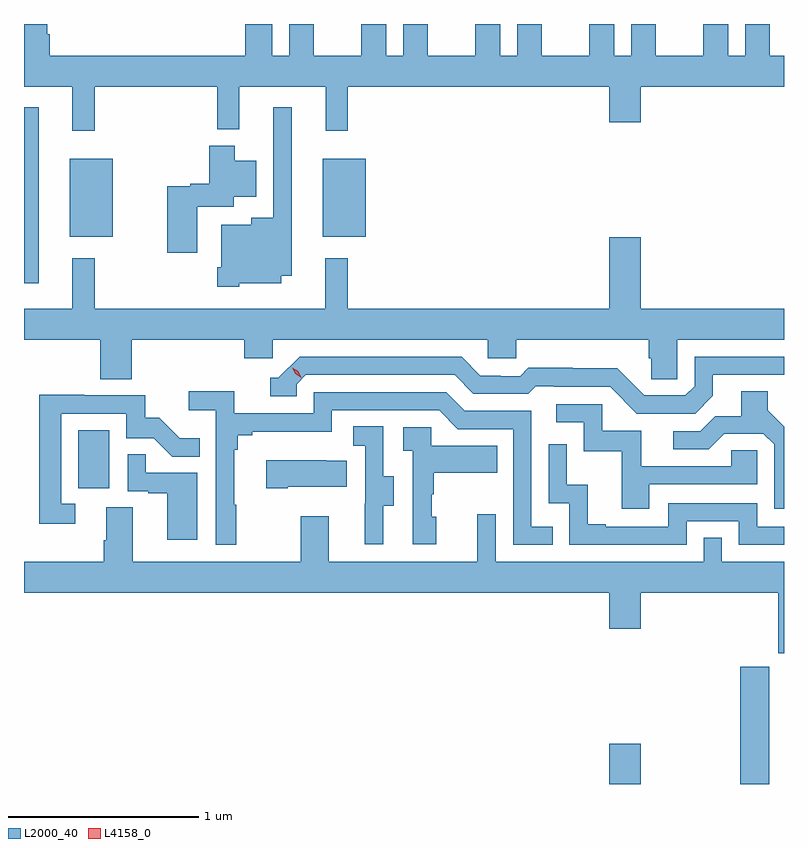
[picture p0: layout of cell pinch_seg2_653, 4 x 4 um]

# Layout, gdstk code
import gdstk
lib = gdstk.Library(unit=1e-6, precision=1e-09)
def R(c, l, rs):  # rectangles x0, y0, x1, y1
    for r in rs: c.add(gdstk.rectangle(r[:2], r[2:], *l))
def P(c, l, *ps):  # polygons
    for p in ps: c.add(gdstk.Polygon(p, *l))
L2000_40 = (2000, 40)
L4158_0 = (4158, 0)

pinch_seg2_653 = lib.new_cell('pinch_seg2_653')
R(pinch_seg2_653, L2000_40, [(1028.144,597.346,1028.308,597.559), (1028.834,597.346,1028.986,597.963), (1025.348,598.902,1025.512,599.209), (1025.063,599.981,1025.14,600.907), (1025.303,600.227,1025.53,600.637), (1026.635,600.227,1026.862,600.637)])
P(pinch_seg2_653, L2000_40, [(1029.063,601.18),(1028.989,601.18),(1028.989,601.346),(1028.858,601.346),(1028.858,601.18),(1028.77,601.18),(1028.77,601.346),(1028.639,601.346),(1028.639,601.18),(1028.389,601.18),(1028.389,601.346),(1028.258,601.346),(1028.258,601.18),(1028.17,601.18),(1028.17,601.346),(1028.039,601.346),(1028.039,601.18),(1027.789,601.18),(1027.789,601.346),(1027.658,601.346),(1027.658,601.18),(1027.57,601.18),(1027.57,601.346),(1027.439,601.346),(1027.439,601.18),(1027.189,601.18),(1027.189,601.346),(1027.058,601.346),(1027.058,601.18),(1026.97,601.18),(1026.97,601.346),(1026.839,601.346),(1026.839,601.18),(1026.589,601.18),(1026.589,601.346),(1026.458,601.346),(1026.458,601.18),(1026.37,601.18),(1026.37,601.346),(1026.227,601.346),(1026.227,601.18),(1025.198,601.18),(1025.198,601.292),(1025.185,601.292),(1025.185,601.346),(1025.063,601.346),(1025.063,601.016),(1025.318,601.016),(1025.318,600.783),(1025.435,600.783),(1025.435,601.016),(1026.079,601.016),(1026.079,600.791),(1026.197,600.791),(1026.197,601.016),(1026.65,601.016),(1026.65,600.783),(1026.767,600.783),(1026.767,601.016),(1028.144,601.016),(1028.144,600.828),(1028.308,600.828),(1028.308,601.016),(1029.063,601.016)],
  [(1026.195,599.981),(1026.418,599.981),(1026.418,600.02),(1026.472,600.02),(1026.472,600.907),(1026.375,600.907),(1026.375,600.325),(1026.26,600.325),(1026.26,600.289),(1026.101,600.289),(1026.101,600.067),(1026.08,600.067),(1026.08,599.963),(1026.195,599.963)],
  [(1025.974,600.383),(1026.166,600.383),(1026.166,600.437),(1026.286,600.437),(1026.286,600.625),(1026.172,600.625),(1026.172,600.706),(1026.038,600.706),(1026.038,600.506),(1025.937,600.506),(1025.937,600.493),(1025.816,600.493),(1025.816,600.141),(1025.974,600.141)],
  [(1025.63,599.684),(1026.221,599.684),(1026.221,599.586),(1026.372,599.586),(1026.372,599.684),(1027.503,599.684),(1027.503,599.586),(1027.653,599.586),(1027.653,599.684),(1028.351,599.684),(1028.351,599.586),(1028.365,599.586),(1028.365,599.476),(1028.502,599.476),(1028.502,599.684),(1029.063,599.684),(1029.063,599.848),(1028.308,599.848),(1028.308,600.223),(1028.144,600.223),(1028.144,599.848),(1026.767,599.848),(1026.767,600.112),(1026.649,600.112),(1026.649,599.848),(1025.435,599.848),(1025.435,600.112),(1025.318,600.112),(1025.318,599.848),(1025.063,599.848),(1025.063,599.684),(1025.465,599.684),(1025.465,599.476),(1025.63,599.476)],
  [(1028.689,599.389),(1028.689,599.499),(1029.063,599.499),(1029.063,599.595),(1028.592,599.595),(1028.592,599.439),(1028.544,599.391),(1028.328,599.391),(1028.186,599.533),(1027.95,599.533),(1027.95,599.536),(1027.717,599.536),(1027.675,599.493),(1027.572,599.493),(1027.572,599.496),(1027.465,599.496),(1027.366,599.595),(1026.513,599.595),(1026.402,599.484),(1026.359,599.484),(1026.359,599.388),(1026.498,599.388),(1026.498,599.451),(1026.546,599.499),(1027.329,599.499),(1027.428,599.4),(1027.717,599.4),(1027.756,599.439),(1027.855,599.439),(1027.855,599.436),(1028.148,599.436),(1028.289,599.295),(1028.595,599.295)],
  [(1026.18,598.817),(1026.169,598.817),(1026.169,599.105),(1026.188,599.105),(1026.188,599.182),(1026.265,599.182),(1026.265,599.201),(1026.684,599.201),(1026.684,599.313),(1027.248,599.313),(1027.347,599.214),(1027.638,599.214),(1027.638,598.605),(1027.847,598.605),(1027.847,598.701),(1027.734,598.701),(1027.734,599.31),(1027.384,599.31),(1027.285,599.409),(1026.588,599.409),(1026.588,599.298),(1026.17,599.298),(1026.17,599.414),(1025.93,599.414),(1025.93,599.312),(1026.072,599.312),(1026.072,598.605),(1026.18,598.605)],
  [(1029.063,599.226),(1028.977,599.312),(1028.977,599.414),(1028.837,599.414),(1028.837,599.282),(1028.702,599.282),(1028.622,599.202),(1028.481,599.202),(1028.481,599.109),(1028.668,599.109),(1028.749,599.19),(1028.955,599.19),(1029.012,599.133),(1029.012,598.794),(1029.063,598.794)],
  [(1025.332,598.821),(1025.259,598.821),(1025.259,599.295),(1025.601,599.295),(1025.601,599.166),(1025.745,599.166),(1025.843,599.068),(1025.987,599.068),(1025.987,599.167),(1025.883,599.167),(1025.776,599.274),(1025.7,599.274),(1025.7,599.391),(1025.381,599.391),(1025.381,599.396),(1025.143,599.396),(1025.143,598.716),(1025.332,598.716)],
  [(1028.353,598.923),(1028.922,598.923),(1028.922,599.103),(1028.785,599.103),(1028.785,599.019),(1028.311,599.019),(1028.311,599.205),(1028.106,599.205),(1028.106,599.346),(1027.863,599.346),(1027.863,599.25),(1028.01,599.25),(1028.01,599.097),(1028.209,599.097),(1028.209,598.794),(1028.353,598.794)],
  [(1026.955,598.81),(1027.009,598.81),(1027.009,598.965),(1026.954,598.965),(1026.954,599.228),(1026.795,599.228),(1026.795,599.125),(1026.858,599.125),(1026.858,598.821),(1026.857,598.821),(1026.857,598.608),(1026.955,598.608)],
  [(1027.234,598.752),(1027.209,598.752),(1027.209,598.871),(1027.219,598.871),(1027.219,598.985),(1027.553,598.985),(1027.553,599.125),(1027.206,599.125),(1027.206,599.223),(1027.059,599.223),(1027.059,599.099),(1027.11,599.099),(1027.11,598.608),(1027.234,598.608)],
  [(1028.55,598.728),(1028.826,598.728),(1028.826,598.605),(1029.063,598.605),(1029.063,598.701),(1028.922,598.701),(1028.922,598.824),(1028.454,598.824),(1028.454,598.701),(1028.125,598.701),(1028.125,598.714),(1028.03,598.714),(1028.03,598.922),(1027.92,598.922),(1027.92,599.134),(1027.824,599.134),(1027.824,598.824),(1027.932,598.824),(1027.932,598.605),(1028.55,598.605)],
  [(1025.974,598.983),(1025.705,598.983),(1025.705,599.081),(1025.61,599.081),(1025.61,598.887),(1025.717,598.887),(1025.717,598.875),(1025.816,598.875),(1025.816,598.632),(1025.974,598.632)],
  [(1026.451,598.91),(1026.761,598.91),(1026.761,599.047),(1026.653,599.047),(1026.653,599.05),(1026.339,599.05),(1026.339,598.903),(1026.451,598.903)],
  [(1029.063,598.516),(1028.736,598.516),(1028.736,598.643),(1028.64,598.643),(1028.64,598.516),(1027.545,598.516),(1027.545,598.765),(1027.448,598.765),(1027.448,598.516),(1026.667,598.516),(1026.667,598.756),(1026.52,598.756),(1026.52,598.516),(1025.635,598.516),(1025.635,598.802),(1025.495,598.802),(1025.495,598.628),(1025.483,598.628),(1025.483,598.516),(1025.063,598.516),(1025.063,598.352),(1028.144,598.352),(1028.144,598.164),(1028.308,598.164),(1028.308,598.352),(1029.032,598.352),(1029.032,598.035),(1029.063,598.035)])
P(pinch_seg2_653, L4158_0, [(1026.522,599.485),(1026.491,599.504),(1026.475,599.537),(1026.475,599.537),(1026.475,599.537),(1026.506,599.518),(1026.522,599.485),(1026.522,599.485)])

lib.write_gds('pinch_seg2_653.gds')
